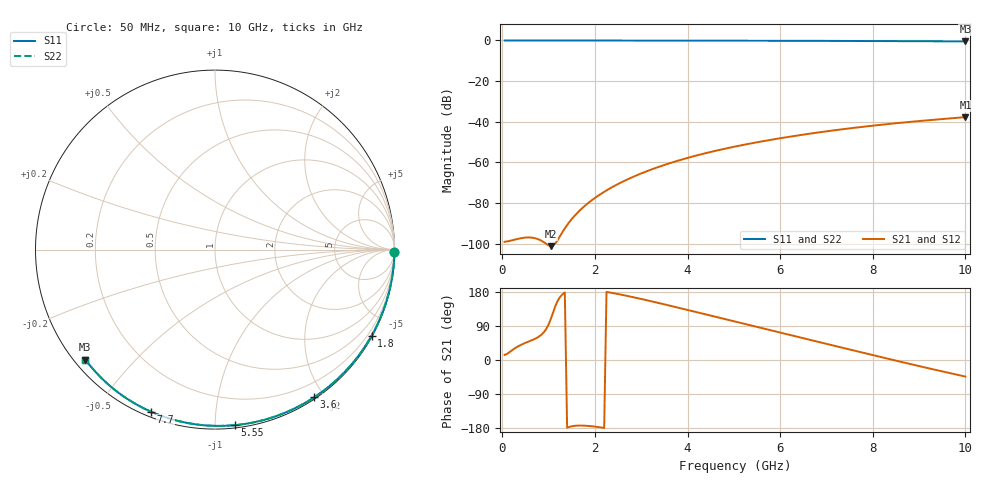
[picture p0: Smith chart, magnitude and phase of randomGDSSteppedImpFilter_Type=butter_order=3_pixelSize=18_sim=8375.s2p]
! freq	dB(S11)	phase(S11)	dB(S12)	phase(S12)
!  dB(S21)	phase(S21)	dB(S22)	phase(S22)
!S-par simulation data
#  GHz  S  DB  R 50
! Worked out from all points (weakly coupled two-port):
!   200 points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, 50 MHz to 10 GHz, reference 50 ohm
!   highest |S21| = -37.71 dB at 10 GHz (marker M1); lowest = -101.1 dB at 1.05 GHz (marker M2)
!   lowest |S11| = -0.5 dB at 10 GHz (marker M3), VSWR 36.78, Z = 1.54 - j18.3 ohm
!   |S11| at or under -10 dB: nowhere
!   |S22| runs from -0.5 to 0.0 dB; largest |S21 - S12| = 0
!   S11 on the Smith chart (normalised r, x): 50 MHz: open; 1.8 GHz: 0.03, -3.90; 3.6 GHz: 0.02, -1.88; 5.55 GHz: 0.02, -1.12; 7.7 GHz: 0.02, -0.68; 10 GHz: 0.03, -0.37
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0.05  -0.00 -0.8  -99.02 13.5  -99.02 13.5  -0.00 -0.8
0.55  -0.01 -8.9  -96.86 47.8  -96.86 47.8  -0.01 -8.9
1.05  -0.02 -16.9  -101.15 109.1  -101.15 109.1  -0.02 -16.9
1.75  -0.04 -27.9  -81.96 -173.2  -81.96 -173.2  -0.04 -27.9
1.8  -0.04 -28.7  -80.97 -173.5  -80.97 -173.5  -0.04 -28.7
1.85  -0.04 -29.5  -80.03 -173.9  -80.03 -173.9  -0.04 -29.5
2.15  -0.04 -34.2  -75.14 -178.4  -75.14 -178.4  -0.04 -34.2
2.35  -0.05 -37.3  -72.42 177.5  -72.42 177.5  -0.05 -37.3
2.55  -0.05 -40.3  -70.00 172.8  -70.00 172.8  -0.05 -40.3
2.95  -0.06 -46.4  -65.84 162.4  -65.84 162.4  -0.06 -46.4
3.4  -0.07 -53.1  -61.97 149.8  -61.97 149.8  -0.07 -53.1
3.6  -0.08 -56.1  -60.46 143.9  -60.46 143.9  -0.08 -56.1
3.9  -0.08 -60.5  -58.39 135.1  -58.39 135.1  -0.08 -60.5
4.3  -0.09 -66.2  -55.94 123.1  -55.94 123.1  -0.09 -66.2
5.05  -0.12 -76.8  -52.05 100.6  -52.05 100.6  -0.12 -76.8
5.55  -0.14 -83.6  -49.86 85.7  -49.86 85.7  -0.14 -83.6
6.1  -0.16 -91.0  -47.71 69.3  -47.71 69.3  -0.16 -91.0
6.7  -0.19 -98.8  -45.63 51.5  -45.63 51.5  -0.19 -98.8
7.7  -0.26 -111.5  -42.67 21.8  -42.67 21.8  -0.26 -111.5
8.35  -0.31 -119.6  -41.05 2.7  -41.05 2.7  -0.31 -119.6
9.2  -0.39 -130.0  -39.22 -21.8  -39.22 -21.8  -0.39 -130.0
10  -0.47 -139.7  -37.71 -43.7  -37.71 -43.7  -0.47 -139.7
